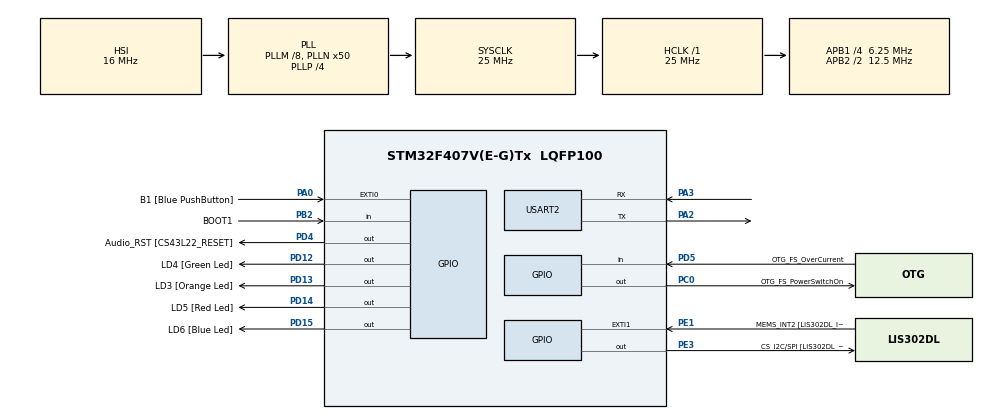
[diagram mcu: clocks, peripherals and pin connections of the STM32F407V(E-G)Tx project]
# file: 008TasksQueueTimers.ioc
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Mcu.Family=STM32F4
Mcu.Name=STM32F407V(E-G)Tx
Mcu.Package=LQFP100
NVIC.PriorityGroup=NVIC_PRIORITYGROUP_4
NVIC.TIM8_TRG_COM_TIM14_IRQn=true\:0\:0\:false\:false\:true\:false\:true
NVIC.TimeBase=TIM8_TRG_COM_TIM14_IRQn
NVIC.TimeBaseIP=TIM14
NVIC.USART2_IRQn=true\:6\:0\:true\:false\:true\:true\:true
PA0-WKUP.GPIO_Label=B1 [Blue PushButton]
PA0-WKUP.Signal=GPXTI0
PA10.GPIO_Label=OTG_FS_ID
PA10.GPIO_Mode=GPIO_MODE_AF_PP
PA10.GPIO_PuPd=GPIO_NOPULL
PA10.GPIO_Speed=GPIO_SPEED_FREQ_LOW
PA10.Signal=USB_OTG_FS_ID
PA11.GPIO_Label=OTG_FS_DM
PA11.GPIO_Mode=GPIO_MODE_AF_PP
PA11.GPIO_PuPd=GPIO_NOPULL
PA11.GPIO_Speed=GPIO_SPEED_FREQ_LOW
PA11.Signal=USB_OTG_FS_DM
PA12.GPIO_Label=OTG_FS_DP
PA12.GPIO_Mode=GPIO_MODE_AF_PP
PA12.GPIO_PuPd=GPIO_NOPULL
PA12.GPIO_Speed=GPIO_SPEED_FREQ_LOW
PA12.Signal=USB_OTG_FS_DP
PA13.GPIO_Label=SWDIO
PA13.Signal=SYS_JTMS-SWDIO
PA14.GPIO_Label=SWCLK
PA14.Signal=SYS_JTCK-SWCLK
PA2.Mode=Asynchronous
PA2.Signal=USART2_TX
PA3.Mode=Asynchronous
PA3.Signal=USART2_RX
PA4.GPIO_Label=I2S3_WS [CS43L22_LRCK]
PA4.GPIO_Mode=GPIO_MODE_AF_PP
PA4.GPIO_PuPd=GPIO_NOPULL
PA4.GPIO_Speed=GPIO_SPEED_FREQ_LOW
PA4.Signal=I2S3_WS
PA5.GPIO_Label=SPI1_SCK [LIS302DL_SCL/SPC]
PA5.GPIO_Mode=GPIO_MODE_AF_PP
PA5.GPIO_PuPd=GPIO_NOPULL
PA5.GPIO_Speed=GPIO_SPEED_FREQ_LOW
PA5.Signal=SPI1_SCK
PA6.GPIO_Label=SPI1_MISO [LIS302DL_SDO]
PA6.GPIO_Mode=GPIO_MODE_AF_PP
PA6.GPIO_PuPd=GPIO_NOPULL
PA6.GPIO_Speed=GPIO_SPEED_FREQ_LOW
PA6.Signal=SPI1_MISO
PA7.GPIO_Label=SPI1_MOSI [LIS302DL_SDA/SDI/SDO]
PA7.GPIO_Mode=GPIO_MODE_AF_PP
PA7.GPIO_PuPd=GPIO_NOPULL
PA7.GPIO_Speed=GPIO_SPEED_FREQ_LOW
PA7.Signal=SPI1_MOSI
PA9.GPIO_Label=VBUS_FS
PA9.GPIO_Mode=GPIO_MODE_INPUT
PA9.GPIO_PuPd=GPIO_NOPULL
PA9.Signal=USB_OTG_FS_VBUS
PB10.GPIO_Label=CLK_IN [MP45DT02_CLK]
PB10.GPIO_Mode=GPIO_MODE_AF_PP
PB10.GPIO_PuPd=GPIO_NOPULL
PB10.GPIO_Speed=GPIO_SPEED_FREQ_LOW
PB10.Signal=I2S2_CK
PB2.GPIO_Label=BOOT1
PB2.GPIO_Mode=GPIO_MODE_INPUT
PB2.GPIO_PuPd=GPIO_NOPULL
PB2.Signal=GPIO_Input
PB3.GPIO_Label=SWO
PB3.Signal=SYS_JTDO-SWO
PB6.GPIO_Label=Audio_SCL [CS43L22_SCL]
PB6.GPIO_Mode=GPIO_MODE_AF_OD
PB6.GPIO_PuPd=GPIO_NOPULL
PB6.GPIO_Speed=GPIO_SPEED_FREQ_LOW
PB6.Signal=I2C1_SCL
PB9.GPIO_Label=Audio_SDA [CS43L22_SDA]
PB9.GPIO_Mode=GPIO_MODE_AF_OD
PB9.GPIO_PuPd=GPIO_NOPULL
PB9.GPIO_Speed=GPIO_SPEED_FREQ_LOW
PB9.Signal=I2C1_SDA
PC0.GPIO_Label=OTG_FS_PowerSwitchOn
PC0.GPIO_PuPd=GPIO_NOPULL
PC0.GPIO_Speed=GPIO_SPEED_FREQ_LOW
PC0.PinState=GPIO_PIN_SET
PC0.Signal=GPIO_Output
PC10.GPIO_Label=I2S3_SCK [CS43L22_SCLK]
PC10.GPIO_Mode=GPIO_MODE_AF_PP
PC10.GPIO_PuPd=GPIO_NOPULL
PC10.GPIO_Speed=GPIO_SPEED_FREQ_LOW
PC10.Signal=I2S3_CK
PC12.GPIO_Label=I2S3_SD [CS43L22_SDIN]
PC12.GPIO_Mode=GPIO_MODE_AF_PP
PC12.GPIO_PuPd=GPIO_NOPULL
PC12.GPIO_Speed=GPIO_SPEED_FREQ_LOW
PC12.Signal=I2S3_SD
PC14-OSC32_IN.GPIO_Label=PC14-OSC32_IN
PC14-OSC32_IN.Signal=RCC_OSC32_IN
PC15-OSC32_OUT.GPIO_Label=PC15-OSC32_OUT
PC15-OSC32_OUT.Signal=RCC_OSC32_OUT
PC3.GPIO_Label=PDM_OUT [MP45DT02_DOUT]
PC3.GPIO_Mode=GPIO_MODE_AF_PP
PC3.GPIO_PuPd=GPIO_NOPULL
PC3.GPIO_Speed=GPIO_SPEED_FREQ_LOW
PC3.Signal=I2S2_SD
PC7.GPIO_Label=I2S3_MCK [CS43L22_MCLK]
PC7.GPIO_Mode=GPIO_MODE_AF_PP
PC7.GPIO_PuPd=GPIO_NOPULL
PC7.GPIO_Speed=GPIO_SPEED_FREQ_LOW
PC7.Signal=I2S3_MCK
PD12.GPIO_Label=LD4 [Green Led]
PD12.GPIO_PuPd=GPIO_NOPULL
PD12.GPIO_Speed=GPIO_SPEED_FREQ_LOW
PD12.Signal=GPIO_Output
PD13.GPIO_Label=LD3 [Orange Led]
PD13.GPIO_PuPd=GPIO_NOPULL
PD13.GPIO_Speed=GPIO_SPEED_FREQ_LOW
PD13.Signal=GPIO_Output
PD14.GPIO_Label=LD5 [Red Led]
PD14.GPIO_PuPd=GPIO_NOPULL
PD14.GPIO_Speed=GPIO_SPEED_FREQ_LOW
PD14.Signal=GPIO_Output
PD15.GPIO_Label=LD6 [Blue Led]
PD15.GPIO_PuPd=GPIO_NOPULL
PD15.GPIO_Speed=GPIO_SPEED_FREQ_LOW
PD15.Signal=GPIO_Output
PD4.GPIO_Label=Audio_RST [CS43L22_RESET]
PD4.GPIO_PuPd=GPIO_NOPULL
PD4.GPIO_Speed=GPIO_SPEED_FREQ_LOW
PD4.Signal=GPIO_Output
PD5.GPIO_Label=OTG_FS_OverCurrent
PD5.GPIO_Mode=GPIO_MODE_INPUT
PD5.GPIO_PuPd=GPIO_NOPULL
PD5.Signal=GPIO_Input
PE1.GPIO_Label=MEMS_INT2 [LIS302DL_INT2]
PE1.GPIO_ModeDefaultEXTI=GPIO_MODE_EVT_RISING
PE1.GPIO_PuPd=GPIO_NOPULL
PE1.Signal=GPXTI1
PE3.GPIO_Label=CS_I2C/SPI [LIS302DL_CS_I2C/SPI]
PE3.GPIO_PuPd=GPIO_NOPULL
PE3.GPIO_Speed=GPIO_SPEED_FREQ_LOW
PE3.Signal=GPIO_Output
PH0-OSC_IN.GPIO_Label=PH0-OSC_IN
PH0-OSC_IN.Signal=RCC_OSC_IN
PH1-OSC_OUT.GPIO_Label=PH1-OSC_OUT
PH1-OSC_OUT.Signal=RCC_OSC_OUT
ProjectManager.HeapSize=0x200
ProjectManager.StackSize=0x400
ProjectManager.TargetToolchain=STM32CubeIDE
RCC.48MHZClocksFreq_Value=14285714.285714285
RCC.AHBFreq_Value=25000000
RCC.APB1CLKDivider=RCC_HCLK_DIV4
RCC.APB1Freq_Value=6250000
RCC.APB1TimFreq_Value=12500000
RCC.APB2CLKDivider=RCC_HCLK_DIV2
RCC.APB2Freq_Value=12500000
RCC.APB2TimFreq_Value=25000000
RCC.CortexFreq_Value=25000000
RCC.HCLKFreq_Value=25000000
RCC.HSE_VALUE=8000000
RCC.HSI_VALUE=16000000
RCC.LSE_VALUE=32768
RCC.PLLM=8
RCC.PLLN=50
RCC.PLLP=RCC_PLLP_DIV4
RCC.PLLQ=7
RCC.SYSCLKFreq_VALUE=25000000
RCC.SYSCLKSource=RCC_SYSCLKSOURCE_PLLCLK
RCC.VCOOutputFreq_Value=100000000
RTC.HourFormat=RTC_HOURFORMAT_12
USART2.VirtualMode=VM_ASYNC
VP_RTC_VS_RTC_Activate.Mode=RTC_Enabled
VP_SYS_VS_tim14.Mode=TIM14
board=STM32F407G-DISC1

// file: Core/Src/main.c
/* USER CODE BEGIN Header */
/**
 ******************************************************************************
 * @file           : main.c
 * @brief          : Main program body
 ******************************************************************************
 * @attention
 *
 * Copyright (c) 2022 STMicroelectronics.
 * All rights reserved.
 *
 * This software is licensed under terms that can be found in the LICENSE file
 * in the root directory of this software component.
 * If no LICENSE file comes with this software, it is provided AS-IS.
 *
 ******************************************************************************
 */
/* USER CODE END Header */
#include "main.h"

RTC_HandleTypeDef hrtc;

UART_HandleTypeDef huart2;

/* USER CODE BEGIN PV */
//#define DWT_CTRL (*(volatile uint32_t*)	0xE0001000)
QueueHandle_t q_data;
QueueHandle_t q_print;

TaskHandle_t menu_task_handle;
TaskHandle_t cmd_task_handle;
TaskHandle_t print_task_handle;
TaskHandle_t led_task_handle;
TaskHandle_t rtc_task_handle;

TimerHandle_t led_timer_handle[4];
TimerHandle_t rtc_timer;

uint8_t user_data;

state_t cur_state = sMainMenu;

/* USER CODE END PV */

void SystemClock_Config(void);
static void MX_GPIO_Init(void);
static void MX_RTC_Init(void);
static void MX_USART2_UART_Init(void);
/* USER CODE BEGIN PFP */

void led_effect_callback(TimerHandle_t);
/* USER CODE END PFP */

int main(void) {
	/* USER CODE BEGIN 1 */

	BaseType_t status;
	/* USER CODE END 1 */

	/* MCU Configuration--------------------------------------------------------*/

	/* Reset of all peripherals, Initializes the Flash interface and the Systick. */
	HAL_Init();

	/* Configure the system clock */
	SystemClock_Config();

	/* Initialize all configured peripherals */
	MX_GPIO_Init();
	MX_RTC_Init();
	MX_USART2_UART_Init();
	/* USER CODE BEGIN 2 */

	//DWT_CTRL |= (1<<0);
	//SEGGER_SYSVIEW_Conf();
	// SEGGER_SYSVIEW_Start();
	status = xTaskCreate(menu_task, "menu_task", 250, NULL, 2,&menu_task_handle);

	configASSERT(status==pdPASS);

	status = xTaskCreate(cmd_task, "cmd_task", 250, NULL, 2, &cmd_task_handle);

	configASSERT(status==pdPASS);

	status = xTaskCreate(print_task, "print_task", 250, NULL, 2,&print_task_handle);

	configASSERT(status==pdPASS);

	status = xTaskCreate(led_task, "led_task", 250, NULL, 2, &led_task_handle);

	configASSERT(status==pdPASS);

	status = xTaskCreate(rtc_task, "rtc_task", 250, NULL, 2, &rtc_task_handle);

	configASSERT(status==pdPASS);

	q_data = xQueueCreate(10, sizeof(char));

	configASSERT(q_data != NULL);

	q_print = xQueueCreate(10, sizeof(size_t));

	configASSERT(q_print != NULL);

	for (int i = 0; i < 4; i++) {
		led_timer_handle[i] = xTimerCreate("led_timer",pdMS_TO_TICKS(500),pdTRUE,(void*) (i + 1),led_effect_callback);
	}

	HAL_UART_Receive_IT(&huart2, &user_data, 1);

	vTaskStartScheduler();
	/* USER CODE END 2 */

	/* Infinite loop */
	while (1) {

	}
}

void SystemClock_Config(void) {
	RCC_OscInitTypeDef RCC_OscInitStruct = { 0 };
	RCC_ClkInitTypeDef RCC_ClkInitStruct = { 0 };

	/** Configure the main internal regulator output voltage
	 */
	__HAL_RCC_PWR_CLK_ENABLE();
	__HAL_PWR_VOLTAGESCALING_CONFIG(PWR_REGULATOR_VOLTAGE_SCALE1);
	/** Initializes the RCC Oscillators according to the specified parameters
	 * in the RCC_OscInitTypeDef structure.
	 */
	RCC_OscInitStruct.OscillatorType = RCC_OSCILLATORTYPE_HSI
			| RCC_OSCILLATORTYPE_LSI;
	RCC_OscInitStruct.HSIState = RCC_HSI_ON;
	RCC_OscInitStruct.HSICalibrationValue = RCC_HSICALIBRATION_DEFAULT;
	RCC_OscInitStruct.LSIState = RCC_LSI_ON;
	RCC_OscInitStruct.PLL.PLLState = RCC_PLL_ON;
	RCC_OscInitStruct.PLL.PLLSource = RCC_PLLSOURCE_HSI;
	RCC_OscInitStruct.PLL.PLLM = 8;
	RCC_OscInitStruct.PLL.PLLN = 50;
	RCC_OscInitStruct.PLL.PLLP = RCC_PLLP_DIV4;
	RCC_OscInitStruct.PLL.PLLQ = 7;
	if (HAL_RCC_OscConfig(&RCC_OscInitStruct) != HAL_OK) {
		Error_Handler();
	}
	/** Initializes the CPU, AHB and APB buses clocks
	 */
	RCC_ClkInitStruct.ClockType = RCC_CLOCKTYPE_HCLK | RCC_CLOCKTYPE_SYSCLK
			| RCC_CLOCKTYPE_PCLK1 | RCC_CLOCKTYPE_PCLK2;
	RCC_ClkInitStruct.SYSCLKSource = RCC_SYSCLKSOURCE_PLLCLK;
	RCC_ClkInitStruct.AHBCLKDivider = RCC_SYSCLK_DIV1;
	RCC_ClkInitStruct.APB1CLKDivider = RCC_HCLK_DIV4;
	RCC_ClkInitStruct.APB2CLKDivider = RCC_HCLK_DIV2;

	if (HAL_RCC_ClockConfig(&RCC_ClkInitStruct, FLASH_LATENCY_0) != HAL_OK) {
		Error_Handler();
	}
}

static void MX_RTC_Init(void) {

	/** Initialize RTC Only
	 */
	hrtc.Instance = RTC;
	hrtc.Init.HourFormat = RTC_HOURFORMAT_12;
	hrtc.Init.AsynchPrediv = 127;
	hrtc.Init.SynchPrediv = 255;
	hrtc.Init.OutPut = RTC_OUTPUT_DISABLE;
	hrtc.Init.OutPutPolarity = RTC_OUTPUT_POLARITY_HIGH;
	hrtc.Init.OutPutType = RTC_OUTPUT_TYPE_OPENDRAIN;
	if (HAL_RTC_Init(&hrtc) != HAL_OK) {
		Error_Handler();
	}

}

static void MX_USART2_UART_Init(void) {

	huart2.Instance = USART2;
	huart2.Init.BaudRate = 115200;
	huart2.Init.WordLength = UART_WORDLENGTH_8B;
	huart2.Init.StopBits = UART_STOPBITS_1;
	huart2.Init.Parity = UART_PARITY_NONE;
	huart2.Init.Mode = UART_MODE_TX_RX;
	huart2.Init.HwFlowCtl = UART_HWCONTROL_NONE;
	huart2.Init.OverSampling = UART_OVERSAMPLING_16;
	if (HAL_UART_Init(&huart2) != HAL_OK) {
		Error_Handler();
	}

}

static void MX_GPIO_Init(void) {
	GPIO_InitTypeDef GPIO_InitStruct = { 0 };

	/* GPIO Ports Clock Enable */
	__HAL_RCC_GPIOE_CLK_ENABLE();
	__HAL_RCC_GPIOC_CLK_ENABLE();
	__HAL_RCC_GPIOH_CLK_ENABLE();
	__HAL_RCC_GPIOA_CLK_ENABLE();
	__HAL_RCC_GPIOB_CLK_ENABLE();
	__HAL_RCC_GPIOD_CLK_ENABLE();

	/*Configure GPIO pin Output Level */
	HAL_GPIO_WritePin(CS_I2C_SPI_GPIO_Port, CS_I2C_SPI_Pin, GPIO_PIN_RESET);

	/*Configure GPIO pin Output Level */
	HAL_GPIO_WritePin(OTG_FS_PowerSwitchOn_GPIO_Port, OTG_FS_PowerSwitchOn_Pin,
			GPIO_PIN_SET);

	/*Configure GPIO pin Output Level */
	HAL_GPIO_WritePin(GPIOD,
	LD4_Pin | LD3_Pin | LD5_Pin | LD6_Pin | Audio_RST_Pin, GPIO_PIN_RESET);

	/*Configure GPIO pin : CS_I2C_SPI_Pin */
	GPIO_InitStruct.Pin = CS_I2C_SPI_Pin;
	GPIO_InitStruct.Mode = GPIO_MODE_OUTPUT_PP;
	GPIO_InitStruct.Pull = GPIO_NOPULL;
	GPIO_InitStruct.Speed = GPIO_SPEED_FREQ_LOW;
	HAL_GPIO_Init(CS_I2C_SPI_GPIO_Port, &GPIO_InitStruct);

	/*Configure GPIO pin : OTG_FS_PowerSwitchOn_Pin */
	GPIO_InitStruct.Pin = OTG_FS_PowerSwitchOn_Pin;
	GPIO_InitStruct.Mode = GPIO_MODE_OUTPUT_PP;
	GPIO_InitStruct.Pull = GPIO_NOPULL;
	GPIO_InitStruct.Speed = GPIO_SPEED_FREQ_LOW;
	HAL_GPIO_Init(OTG_FS_PowerSwitchOn_GPIO_Port, &GPIO_InitStruct);

	/*Configure GPIO pin : PDM_OUT_Pin */
	GPIO_InitStruct.Pin = PDM_OUT_Pin;
	GPIO_InitStruct.Mode = GPIO_MODE_AF_PP;
	GPIO_InitStruct.Pull = GPIO_NOPULL;
	GPIO_InitStruct.Speed = GPIO_SPEED_FREQ_LOW;
	GPIO_InitStruct.Alternate = GPIO_AF5_SPI2;
	HAL_GPIO_Init(PDM_OUT_GPIO_Port, &GPIO_InitStruct);

	/*Configure GPIO pin : B1_Pin */
	GPIO_InitStruct.Pin = B1_Pin;
	GPIO_InitStruct.Mode = GPIO_MODE_IT_RISING;
	GPIO_InitStruct.Pull = GPIO_NOPULL;
	HAL_GPIO_Init(B1_GPIO_Port, &GPIO_InitStruct);

	/*Configure GPIO pin : I2S3_WS_Pin */
	GPIO_InitStruct.Pin = I2S3_WS_Pin;
	GPIO_InitStruct.Mode = GPIO_MODE_AF_PP;
	GPIO_InitStruct.Pull = GPIO_NOPULL;
	GPIO_InitStruct.Speed = GPIO_SPEED_FREQ_LOW;
	GPIO_InitStruct.Alternate = GPIO_AF6_SPI3;
	HAL_GPIO_Init(I2S3_WS_GPIO_Port, &GPIO_InitStruct);

	/*Configure GPIO pins : SPI1_SCK_Pin SPI1_MISO_Pin SPI1_MOSI_Pin */
	GPIO_InitStruct.Pin = SPI1_SCK_Pin | SPI1_MISO_Pin | SPI1_MOSI_Pin;
	GPIO_InitStruct.Mode = GPIO_MODE_AF_PP;
	GPIO_InitStruct.Pull = GPIO_NOPULL;
	GPIO_InitStruct.Speed = GPIO_SPEED_FREQ_LOW;
	GPIO_InitStruct.Alternate = GPIO_AF5_SPI1;
	HAL_GPIO_Init(GPIOA, &GPIO_InitStruct);

	/*Configure GPIO pin : BOOT1_Pin */
	GPIO_InitStruct.Pin = BOOT1_Pin;
	GPIO_InitStruct.Mode = GPIO_MODE_INPUT;
	GPIO_InitStruct.Pull = GPIO_NOPULL;
	HAL_GPIO_Init(BOOT1_GPIO_Port, &GPIO_InitStruct);

	/*Configure GPIO pin : CLK_IN_Pin */
	GPIO_InitStruct.Pin = CLK_IN_Pin;
	GPIO_InitStruct.Mode = GPIO_MODE_AF_PP;
	GPIO_InitStruct.Pull = GPIO_NOPULL;
	GPIO_InitStruct.Speed = GPIO_SPEED_FREQ_LOW;
	GPIO_InitStruct.Alternate = GPIO_AF5_SPI2;
	HAL_GPIO_Init(CLK_IN_GPIO_Port, &GPIO_InitStruct);

	/*Configure GPIO pins : LD4_Pin LD3_Pin LD5_Pin LD6_Pin
	 Audio_RST_Pin */
	GPIO_InitStruct.Pin = LD4_Pin | LD3_Pin | LD5_Pin | LD6_Pin | Audio_RST_Pin;
	GPIO_InitStruct.Mode = GPIO_MODE_OUTPUT_PP;
	GPIO_InitStruct.Pull = GPIO_NOPULL;
	GPIO_InitStruct.Speed = GPIO_SPEED_FREQ_LOW;
	HAL_GPIO_Init(GPIOD, &GPIO_InitStruct);

	/*Configure GPIO pins : I2S3_MCK_Pin I2S3_SCK_Pin I2S3_SD_Pin */
	GPIO_InitStruct.Pin = I2S3_MCK_Pin | I2S3_SCK_Pin | I2S3_SD_Pin;
	GPIO_InitStruct.Mode = GPIO_MODE_AF_PP;
	GPIO_InitStruct.Pull = GPIO_NOPULL;
	GPIO_InitStruct.Speed = GPIO_SPEED_FREQ_LOW;
	GPIO_InitStruct.Alternate = GPIO_AF6_SPI3;
	HAL_GPIO_Init(GPIOC, &GPIO_InitStruct);

	/*Configure GPIO pin : VBUS_FS_Pin */
	GPIO_InitStruct.Pin = VBUS_FS_Pin;
	GPIO_InitStruct.Mode = GPIO_MODE_INPUT;
	GPIO_InitStruct.Pull = GPIO_NOPULL;
	HAL_GPIO_Init(VBUS_FS_GPIO_Port, &GPIO_InitStruct);

	/*Configure GPIO pins : OTG_FS_ID_Pin OTG_FS_DM_Pin OTG_FS_DP_Pin */
	GPIO_InitStruct.Pin = OTG_FS_ID_Pin | OTG_FS_DM_Pin | OTG_FS_DP_Pin;
	GPIO_InitStruct.Mode = GPIO_MODE_AF_PP;
	GPIO_InitStruct.Pull = GPIO_NOPULL;
	GPIO_InitStruct.Speed = GPIO_SPEED_FREQ_LOW;
	GPIO_InitStruct.Alternate = GPIO_AF10_OTG_FS;
	HAL_GPIO_Init(GPIOA, &GPIO_InitStruct);

	/*Configure GPIO pin : OTG_FS_OverCurrent_Pin */
	GPIO_InitStruct.Pin = OTG_FS_OverCurrent_Pin;
	GPIO_InitStruct.Mode = GPIO_MODE_INPUT;
	GPIO_InitStruct.Pull = GPIO_NOPULL;
	HAL_GPIO_Init(OTG_FS_OverCurrent_GPIO_Port, &GPIO_InitStruct);

	/*Configure GPIO pins : Audio_SCL_Pin Audio_SDA_Pin */
	GPIO_InitStruct.Pin = Audio_SCL_Pin | Audio_SDA_Pin;
	GPIO_InitStruct.Mode = GPIO_MODE_AF_OD;
	GPIO_InitStruct.Pull = GPIO_NOPULL;
	GPIO_InitStruct.Speed = GPIO_SPEED_FREQ_LOW;
	GPIO_InitStruct.Alternate = GPIO_AF4_I2C1;
	HAL_GPIO_Init(GPIOB, &GPIO_InitStruct);

	/*Configure GPIO pin : MEMS_INT2_Pin */
	GPIO_InitStruct.Pin = MEMS_INT2_Pin;
	GPIO_InitStruct.Mode = GPIO_MODE_EVT_RISING;
	GPIO_InitStruct.Pull = GPIO_NOPULL;
	HAL_GPIO_Init(MEMS_INT2_GPIO_Port, &GPIO_InitStruct);

}

/* USER CODE BEGIN 4 */

void HAL_UART_RxCpltCallback(UART_HandleTypeDef *huart) {

	uint8_t dummy;
	for (uint32_t i = 0; i <= 4000; i++);
	BaseType_t q_status;
	q_status = xQueueIsQueueFullFromISR(q_data);

	if (!q_status) {
		xQueueSendFromISR(q_data, (void* )&user_data, NULL);

	} else {
		/*Queue is full */

		if (user_data == '\n') {

			xQueueReceiveFromISR(q_data, (void*) &dummy, NULL);

			xQueueSendFromISR(q_data, &user_data, NULL);
		}
	}
	if (user_data == '\n') {

		xTaskNotifyFromISR(cmd_task_handle, 0, eNoAction, NULL);
	}
	/*TODO: send notification to command handling task if user_data = '\n' */

	/* TODO: Enable UART data byte reception again in IT mode */
	HAL_UART_Receive_IT(&huart2, &user_data, 1);

}

void led_effect_callback(TimerHandle_t xTimer) {
	int id;
	id = (int32_t) pvTimerGetTimerID(xTimer);
	switch (id) {
	case 1:
		LED_effect1();
		break;
	case 2:
		LED_effect2();
		break;
	case 3:
		LED_effect3();
		break;
	case 4:
		LED_effect4();
		break;
	}
}

void vApplicationIdleHook(void) {
	HAL_PWR_EnterSLEEPMode(PWR_MAINREGULATOR_ON, PWR_SLEEPENTRY_WFI);
}
/* USER CODE END 4 */

void HAL_TIM_PeriodElapsedCallback(TIM_HandleTypeDef *htim) {
	if (htim->Instance == TIM14) {
		HAL_IncTick();
	}
}

void Error_Handler(void) {
	__disable_irq();
	while (1) {
	}
}
